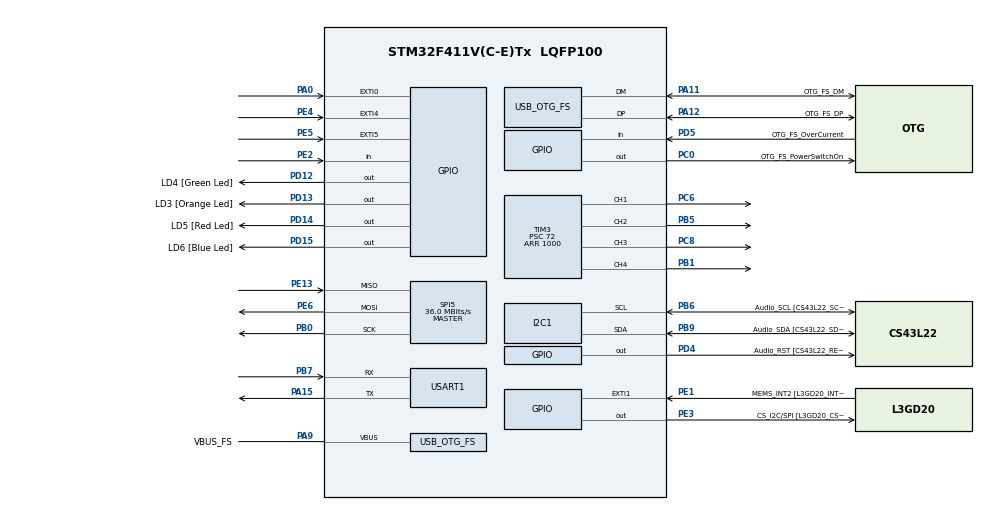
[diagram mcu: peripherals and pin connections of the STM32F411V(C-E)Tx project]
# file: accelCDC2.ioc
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I2C1.AddressingMode=I2C_ADDRESSINGMODE_7BIT
Mcu.Family=STM32F4
Mcu.Name=STM32F411V(C-E)Tx
Mcu.Package=LQFP100
NVIC.OTG_FS_IRQn=true\:0\:0\:false\:false\:true
NVIC.PriorityGroup=NVIC_PRIORITYGROUP_4
NVIC.TIM1_UP_TIM10_IRQn=true\:0\:0\:false\:false\:true
NVIC.TimeBase=TIM1_UP_TIM10_IRQn
NVIC.TimeBaseIP=TIM1
PA0-WKUP.GPIO_ModeDefaultEXTI=GPIO_MODE_EVT_RISING
PA0-WKUP.Signal=GPXTI0
PA10.GPIO_Label=OTG_FS_ID
PA10.Signal=USB_OTG_FS_ID
PA11.GPIO_Label=OTG_FS_DM
PA11.Mode=Device_Only
PA11.Signal=USB_OTG_FS_DM
PA12.GPIO_Label=OTG_FS_DP
PA12.Mode=Device_Only
PA12.Signal=USB_OTG_FS_DP
PA13.GPIO_Label=SWDIO
PA13.Signal=SYS_JTMS-SWDIO
PA14.GPIO_Label=SWCLK
PA14.Signal=SYS_JTCK-SWCLK
PA15.Mode=Asynchronous
PA15.Signal=USART1_TX
PA4.GPIO_Label=I2S3_WS [CS43L22_LRCK]
PA4.GPIO_Mode=GPIO_MODE_AF_PP
PA4.GPIO_PuPd=GPIO_NOPULL
PA4.GPIO_Speed=GPIO_SPEED_FREQ_LOW
PA4.Signal=I2S3_WS
PA5.GPIO_Label=SPI1_SCK [L3GD20_SC/SPC]
PA5.Signal=SPI1_SCK
PA6.GPIO_Label=SPI1_MISO [L3GD20_AS0/SDO]
PA6.Signal=SPI1_MISO
PA7.GPIO_Label=SPI1_MOSI [L3GD20_SDA/SDI/SDO]
PA7.Signal=SPI1_MOSI
PA9.GPIO_Label=VBUS_FS
PA9.Mode=Activate_VBUS
PA9.Signal=USB_OTG_FS_VBUS
PB0.Mode=Full_Duplex_Master
PB0.Signal=SPI5_SCK
PB1.Signal=S_TIM3_CH4
PB10.GPIO_Label=CLK_IN [MP45DT02_CLK]
PB10.Signal=I2S2_CK
PB12.Signal=I2S2_WS
PB3.GPIO_Label=SWO
PB3.Signal=SYS_JTDO-SWO
PB5.Signal=S_TIM3_CH2
PB6.GPIO_Label=Audio_SCL [CS43L22_SCL]
PB6.GPIO_Mode=GPIO_MODE_AF_OD
PB6.GPIO_PuPd=GPIO_NOPULL
PB6.GPIO_Speed=GPIO_SPEED_FREQ_LOW
PB6.Mode=I2C
PB6.Signal=I2C1_SCL
PB7.Mode=Asynchronous
PB7.Signal=USART1_RX
PB9.GPIO_Label=Audio_SDA [CS43L22_SDA]
PB9.GPIO_Mode=GPIO_MODE_AF_OD
PB9.GPIO_PuPd=GPIO_NOPULL
PB9.GPIO_Speed=GPIO_SPEED_FREQ_LOW
PB9.Mode=I2C
PB9.Signal=I2C1_SDA
PC0.GPIO_Label=OTG_FS_PowerSwitchOn
PC0.PinState=GPIO_PIN_SET
PC0.Signal=GPIO_Output
PC10.GPIO_Label=I2S3_SCK [CS43L22_SCLK]
PC10.GPIO_Mode=GPIO_MODE_AF_PP
PC10.GPIO_PuPd=GPIO_NOPULL
PC10.GPIO_Speed=GPIO_SPEED_FREQ_LOW
PC10.Signal=I2S3_CK
PC12.GPIO_Label=I2S3_SD [CS43L22_SDIN]
PC12.GPIO_Mode=GPIO_MODE_AF_PP
PC12.GPIO_PuPd=GPIO_NOPULL
PC12.GPIO_Speed=GPIO_SPEED_FREQ_LOW
PC12.Signal=I2S3_SD
PC14-OSC32_IN.GPIO_Label=PC14-OSC32_IN
PC14-OSC32_IN.Signal=RCC_OSC32_IN
PC15-OSC32_OUT.GPIO_Label=PC15-OSC32_OUT
PC15-OSC32_OUT.Signal=RCC_OSC32_OUT
PC3.GPIO_Label=PDM_OUT [MP45DT02_DOUT]
PC3.Signal=I2S2_SD
PC6.Signal=S_TIM3_CH1
PC7.GPIO_Label=I2S3_MCK [CS43L22_MCLK]
PC7.GPIO_Mode=GPIO_MODE_AF_PP
PC7.GPIO_PuPd=GPIO_NOPULL
PC7.GPIO_Speed=GPIO_SPEED_FREQ_LOW
PC7.Signal=I2S3_MCK
PC8.Signal=S_TIM3_CH3
PD12.GPIO_Label=LD4 [Green Led]
PD12.GPIO_PuPd=GPIO_NOPULL
PD12.GPIO_Speed=GPIO_SPEED_FREQ_LOW
PD12.Signal=GPIO_Output
PD13.GPIO_Label=LD3 [Orange Led]
PD13.GPIO_PuPd=GPIO_NOPULL
PD13.GPIO_Speed=GPIO_SPEED_FREQ_LOW
PD13.Signal=GPIO_Output
PD14.GPIO_Label=LD5 [Red Led]
PD14.GPIO_PuPd=GPIO_NOPULL
PD14.GPIO_Speed=GPIO_SPEED_FREQ_LOW
PD14.Signal=GPIO_Output
PD15.GPIO_Label=LD6 [Blue Led]
PD15.GPIO_PuPd=GPIO_NOPULL
PD15.GPIO_Speed=GPIO_SPEED_FREQ_LOW
PD15.Signal=GPIO_Output
PD4.GPIO_Label=Audio_RST [CS43L22_RESET]
PD4.Signal=GPIO_Output
PD5.GPIO_Label=OTG_FS_OverCurrent
PD5.Signal=GPIO_Input
PE1.GPIO_Label=MEMS_INT2 [L3GD20_INT2]
PE1.GPIO_ModeDefaultEXTI=GPIO_MODE_EVT_RISING
PE1.Signal=GPXTI1
PE13.Mode=Full_Duplex_Master
PE13.Signal=SPI5_MISO
PE2.Signal=GPIO_Input
PE3.GPIO_Label=CS_I2C/SPI [L3GD20_CS_I2C/SPI]
PE3.Signal=GPIO_Output
PE4.GPIO_ModeDefaultEXTI=GPIO_MODE_EVT_RISING
PE4.Signal=GPXTI4
PE5.GPIO_ModeDefaultEXTI=GPIO_MODE_EVT_RISING
PE5.Signal=GPXTI5
PE6.Mode=Full_Duplex_Master
PE6.Signal=SPI5_MOSI
PH0\ -\ OSC_IN.GPIO_Label=PH0-OSC_IN
PH0\ -\ OSC_IN.Mode=HSE-External-Oscillator
PH0\ -\ OSC_IN.Signal=RCC_OSC_IN
PH1\ -\ OSC_OUT.GPIO_Label=PH1-OSC_OUT
PH1\ -\ OSC_OUT.Mode=HSE-External-Oscillator
PH1\ -\ OSC_OUT.Signal=RCC_OSC_OUT
ProjectManager.HeapSize=0x200
ProjectManager.StackSize=0x400
ProjectManager.TargetToolchain=SW4STM32
RCC.48MHZClocksFreq_Value=48000000
RCC.AHBFreq_Value=72000000
RCC.APB1CLKDivider=RCC_HCLK_DIV2
RCC.APB1Freq_Value=36000000
RCC.APB1TimFreq_Value=72000000
RCC.APB2Freq_Value=72000000
RCC.APB2TimFreq_Value=72000000
RCC.CortexFreq_Value=72000000
RCC.HCLKFreq_Value=72000000
RCC.HSE_VALUE=8000000
RCC.HSI_VALUE=16000000
RCC.LSE_VALUE=32768
RCC.PLLI2SM=5
RCC.PLLI2SN=200
RCC.PLLM=4
RCC.PLLN=72
RCC.PLLQ=3
RCC.SYSCLKFreq_VALUE=72000000
RCC.SYSCLKSource=RCC_SYSCLKSOURCE_PLLCLK
RCC.VCOOutputFreq_Value=144000000
SH.S_TIM3_CH1.0=TIM3_CH1,PWM Generation1 CH1
SH.S_TIM3_CH2.0=TIM3_CH2,PWM Generation2 CH2
SH.S_TIM3_CH3.0=TIM3_CH3,PWM Generation3 CH3
SH.S_TIM3_CH4.0=TIM3_CH4,PWM Generation4 CH4
SPI5.CalculateBaudRate=36.0 MBits/s
SPI5.Direction=SPI_DIRECTION_2LINES
SPI5.Mode=SPI_MODE_MASTER
SPI5.VirtualType=VM_MASTER
TIM3.Channel-PWM\ Generation1\ CH1=TIM_CHANNEL_1
TIM3.Channel-PWM\ Generation2\ CH2=TIM_CHANNEL_2
TIM3.Channel-PWM\ Generation3\ CH3=TIM_CHANNEL_3
TIM3.Channel-PWM\ Generation4\ CH4=TIM_CHANNEL_4
TIM3.Period=1000
TIM3.Prescaler=72
USART1.VirtualMode=VM_ASYNC
USART1.WordLength=WORDLENGTH_8B
USB_DEVICE.CLASS_NAME_FS=CDC
USB_DEVICE.USBD_HandleTypeDef=hUsbDeviceFS
USB_DEVICE.VirtualMode=Cdc
USB_DEVICE.VirtualModeFS=Cdc_FS
USB_OTG_FS.VirtualMode=Device_Only
VP_SYS_VS_tim1.Mode=TIM1
VP_USB_DEVICE_VS_USB_DEVICE_CDC_FS.Mode=CDC_FS
board=STM32F411E-DISCO

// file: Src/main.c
#include "main.h"
#include "stm32f4xx_hal.h"
#include "usb_device.h"
#include "setup.hpp"

#include "usbd_cdc_if.h"
#include <string.h>

I2C_HandleTypeDef hi2c1;

SPI_HandleTypeDef hspi5;

TIM_HandleTypeDef htim3;

UART_HandleTypeDef huart1;

/* USER CODE BEGIN PV */
/* Private variables ---------------------------------------------------------*/
TIM_OC_InitTypeDef htimPwmPulse;

#define REG_X_AXIS_L 0x28
#define REG_X_AXIS_H 0x29
#define REG_Y_AXIS_L 0x2A
#define REG_Y_AXIS_H 0x2B
// control reg1 (20h) - ODR: 25Hz, X,Y,Z Axis enabled.
uint8_t ConfigReg1[2] = { 0x20, 0x37 }; /*0011 0000  0011 0111*/
uint8_t accelDataX[2];
uint8_t accelDataY[2];

/* USER CODE END PV */

static void MX_USART1_UART_Init(void);
static void MX_I2C1_Init(void);
static void MX_SPI5_Init(void);
static void MX_TIM3_Init(void);

void HAL_TIM_MspPostInit(TIM_HandleTypeDef *htim);

static void setupExternInterPins(void);

/* USER CODE BEGIN PFP */
/* Private function prototypes -----------------------------------------------*/
void pwmChannelOneStart(void);
void pwmChannelTwoStart(void);
void pwmChannelThreeStart(void);
void pwmChannelFourStart(void);

void pwmChannelOneStop(void);
void pwmChannelTwoStop(void);
void pwmChannelThreeStop(void);
void pwmChannelFourStop(void);

void pwmChannelOneSet(uint16_t set);
void pwmChannelTwoSet(uint16_t set);
void pwmChannelThreeSet(uint16_t set);
void pwmChannelFourSet(uint16_t set);
/* USER CODE END PFP */

/* USER CODE BEGIN 0 */
uint8_t buff[10];
uint8_t str1[2];
uint8_t retStrcmp;
uint32_t motor1Encoder;

/* USER CODE END 0 */

int main(void)
{
  HAL_Init();

  SystemClock_Config();

  htimPwmPulse.OCMode = TIM_OCMODE_PWM1;
  htimPwmPulse.Pulse = 500;
  htimPwmPulse.OCPolarity = TIM_OCPOLARITY_HIGH;
  htimPwmPulse.OCFastMode = TIM_OCFAST_DISABLE;

  MX_GPIO_Init();
  setupExternInterPins();
  MX_USART1_UART_Init();
  MX_USB_DEVICE_Init();
  MX_I2C1_Init();
  MX_SPI5_Init();
  MX_TIM3_Init();

  //while(HAL_I2C_Master_Transmit(&hi2c1, (uint16_t)0x32, (uint8_t*)&ConfigReg1[0], 2, 10000) != HAL_OK) { }
  HAL_Delay(1);

  while (1)
  {
	  uint8_t testDataToSend[13] = {'H', 'E', 'L','L','O',' ','W','O','R','L','D', '\r'};

	  //HAL_I2C_Mem_Read(&hi2c1, 0x32, REG_X_AXIS_L, I2C_MEMADD_SIZE_8BIT, &accelDataX[0], 1, 10000);
	  //HAL_I2C_Mem_Read(&hi2c1, 0x32, REG_X_AXIS_H, I2C_MEMADD_SIZE_8BIT, &accelDataX[1], 1, 10000);

	  //HAL_I2C_Mem_Read(&hi2c1, 0x32, REG_Y_AXIS_L, I2C_MEMADD_SIZE_8BIT, &accelDataY[0], 1, 10000);
	  //HAL_I2C_Mem_Read(&hi2c1, 0x32, REG_Y_AXIS_H, I2C_MEMADD_SIZE_8BIT, &accelDataY[1], 1, 10000);

	  HAL_GPIO_WritePin(GPIOD, GPIO_PIN_15, HAL_GPIO_ReadPin(GPIOD,GPIO_PIN_7));
	  HAL_GPIO_WritePin(GPIOD, GPIO_PIN_14, HAL_GPIO_ReadPin(GPIOD,GPIO_PIN_6));
	  HAL_GPIO_WritePin(GPIOD, GPIO_PIN_13, HAL_GPIO_ReadPin(GPIOD,GPIO_PIN_3));
	  HAL_GPIO_WritePin(GPIOD, GPIO_PIN_12, HAL_GPIO_ReadPin(GPIOD,GPIO_PIN_2));

	  //CDC_Transmit_FS(testDataToSend, 12);

	  //uint8_t buff[6];
	  CDC_Receive_FS_User(buff, 10); //Receives from usb port every update

	  strncpy (str1, buff, 3 );

	  retStrcmp = strcmp(str1,"M1O");
	  if(retStrcmp==0)
	  {
		  pwmChannelOneSet(500);
		  pwmChannelOneStart();
	  }

	  retStrcmp = strcmp(str1,"M1F");
	  if(retStrcmp==0)
	  {
		  pwmChannelOneStop();
	  }

	  retStrcmp = strcmp(str1,"M2O");
	  if(retStrcmp==0)
	  {
		  pwmChannelTwoSet(500);
		  pwmChannelTwoStart();
	  }

	  retStrcmp = strcmp(str1,"M2F");
	  if(retStrcmp==0)
	  {
		  pwmChannelTwoStop();
	  }

	  retStrcmp = strcmp(str1,"M3O");
	  if(retStrcmp==0)
	  {
		  pwmChannelThreeSet(500);
		  pwmChannelThreeStart();
	  }

	  retStrcmp = strcmp(str1,"M3F");
	  if(retStrcmp==0)
	  {
		  pwmChannelThreeStop();
	  }

	  retStrcmp = strcmp(str1,"M4O");
	  if(retStrcmp==0)
	  {
		  pwmChannelFourSet(500);
		  pwmChannelFourStart();
	  }

	  retStrcmp = strcmp(str1,"M4F");
	  if(retStrcmp==0)
	  {
		  pwmChannelFourStop();
	  }
  }
}

static void setupExternInterPins(void)
{
	/*Setup PD7 & 6 as interupt pin*/
	  GPIO_InitTypeDef   GPIO_InitStructure;

	  __HAL_RCC_GPIOD_CLK_ENABLE();

	  /* Configure PA0 pin as input floating */
	  GPIO_InitStructure.Mode = GPIO_MODE_INPUT;
	  GPIO_InitStructure.Pull = GPIO_NOPULL;
	  GPIO_InitStructure.Pin = GPIO_PIN_7|GPIO_PIN_6|GPIO_PIN_3|GPIO_PIN_2;
	  HAL_GPIO_Init(GPIOD, &GPIO_InitStructure);

	  //GPIO_InitStructure.Pin = GPIO_PIN_6;
	  //HAL_GPIO_Init(GPIOD, &GPIO_InitStructure);

	  /* Enable and set EXTI Line0 Interrupt to the lowest priority */
	  //HAL_NVIC_SetPriority(EXTI1_IRQn, 2, 0);
	  //HAL_NVIC_EnableIRQ(EXTI1_IRQn);
}

/* I2C1 init function */
static void MX_I2C1_Init(void)
{

  hi2c1.Instance = I2C1;
  hi2c1.Init.ClockSpeed = 100000;
  hi2c1.Init.DutyCycle = I2C_DUTYCYCLE_2;
  hi2c1.Init.OwnAddress1 = 0;
  hi2c1.Init.AddressingMode = I2C_ADDRESSINGMODE_7BIT;
  hi2c1.Init.DualAddressMode = I2C_DUALADDRESS_DISABLE;
  hi2c1.Init.OwnAddress2 = 0;
  hi2c1.Init.GeneralCallMode = I2C_GENERALCALL_DISABLE;
  hi2c1.Init.NoStretchMode = I2C_NOSTRETCH_DISABLE;
  if (HAL_I2C_Init(&hi2c1) != HAL_OK)
  {
    _Error_Handler(__FILE__, __LINE__);
  }

}

/* SPI5 init function */
static void MX_SPI5_Init(void)
{

  hspi5.Instance = SPI5;
  hspi5.Init.Mode = SPI_MODE_MASTER;
  hspi5.Init.Direction = SPI_DIRECTION_2LINES;
  hspi5.Init.DataSize = SPI_DATASIZE_8BIT;
  hspi5.Init.CLKPolarity = SPI_POLARITY_LOW;
  hspi5.Init.CLKPhase = SPI_PHASE_1EDGE;
  hspi5.Init.NSS = SPI_NSS_SOFT;
  hspi5.Init.BaudRatePrescaler = SPI_BAUDRATEPRESCALER_2;
  hspi5.Init.FirstBit = SPI_FIRSTBIT_MSB;
  hspi5.Init.TIMode = SPI_TIMODE_DISABLE;
  hspi5.Init.CRCCalculation = SPI_CRCCALCULATION_DISABLE;
  hspi5.Init.CRCPolynomial = 10;
  if (HAL_SPI_Init(&hspi5) != HAL_OK)
  {
    _Error_Handler(__FILE__, __LINE__);
  }

}

/* TIM3 init function */
static void MX_TIM3_Init(void)
{

  TIM_MasterConfigTypeDef sMasterConfig;
  TIM_OC_InitTypeDef sConfigOC;

  htim3.Instance = TIM3;
  htim3.Init.Prescaler = 72;
  htim3.Init.CounterMode = TIM_COUNTERMODE_UP;
  htim3.Init.Period = 1000;
  htim3.Init.ClockDivision = TIM_CLOCKDIVISION_DIV1;
  if (HAL_TIM_PWM_Init(&htim3) != HAL_OK)
  {
    _Error_Handler(__FILE__, __LINE__);
  }

  sMasterConfig.MasterOutputTrigger = TIM_TRGO_RESET;
  sMasterConfig.MasterSlaveMode = TIM_MASTERSLAVEMODE_DISABLE;
  if (HAL_TIMEx_MasterConfigSynchronization(&htim3, &sMasterConfig) != HAL_OK)
  {
    _Error_Handler(__FILE__, __LINE__);
  }

  sConfigOC.OCMode = TIM_OCMODE_PWM1;
  sConfigOC.Pulse = 0;
  sConfigOC.OCPolarity = TIM_OCPOLARITY_HIGH;
  sConfigOC.OCFastMode = TIM_OCFAST_DISABLE;
  if (HAL_TIM_PWM_ConfigChannel(&htim3, &sConfigOC, TIM_CHANNEL_1) != HAL_OK)
  {
    _Error_Handler(__FILE__, __LINE__);
  }

  if (HAL_TIM_PWM_ConfigChannel(&htim3, &sConfigOC, TIM_CHANNEL_2) != HAL_OK)
  {
    _Error_Handler(__FILE__, __LINE__);
  }

  if (HAL_TIM_PWM_ConfigChannel(&htim3, &sConfigOC, TIM_CHANNEL_3) != HAL_OK)
  {
    _Error_Handler(__FILE__, __LINE__);
  }

  if (HAL_TIM_PWM_ConfigChannel(&htim3, &sConfigOC, TIM_CHANNEL_4) != HAL_OK)
  {
    _Error_Handler(__FILE__, __LINE__);
  }

  HAL_TIM_MspPostInit(&htim3);

}

/* USART1 init function */
static void MX_USART1_UART_Init(void)
{

  huart1.Instance = USART1;
  huart1.Init.BaudRate = 115200;
  huart1.Init.WordLength = UART_WORDLENGTH_8B;
  huart1.Init.StopBits = UART_STOPBITS_1;
  huart1.Init.Parity = UART_PARITY_NONE;
  huart1.Init.Mode = UART_MODE_TX_RX;
  huart1.Init.HwFlowCtl = UART_HWCONTROL_NONE;
  huart1.Init.OverSampling = UART_OVERSAMPLING_16;
  if (HAL_UART_Init(&huart1) != HAL_OK)
  {
    _Error_Handler(__FILE__, __LINE__);
  }

}

/** Configure pins as
        * Analog
        * Input
        * Output
        * EVENT_OUT
        * EXTI
     PC3   ------> I2S2_SD
     PA4   ------> I2S3_WS
     PA5   ------> SPI1_SCK
     PA6   ------> SPI1_MISO
     PA7   ------> SPI1_MOSI
     PB10   ------> I2S2_CK
     PB12   ------> I2S2_WS
     PC7   ------> I2S3_MCK
     PC10   ------> I2S3_CK
     PC12   ------> I2S3_SD
*/

/* USER CODE BEGIN 4 */
void pwmChannelOneStart(void)
{
	HAL_TIM_PWM_Start(&htim3, TIM_CHANNEL_1);
}
void pwmChannelTwoStart(void)
{
	HAL_TIM_PWM_Start(&htim3, TIM_CHANNEL_2);
}
void pwmChannelThreeStart(void)
{
	HAL_TIM_PWM_Start(&htim3, TIM_CHANNEL_3);
}
void pwmChannelFourStart(void)
{
	HAL_TIM_PWM_Start(&htim3, TIM_CHANNEL_4);
}

void pwmChannelOneStop(void)
{
	HAL_TIM_PWM_Stop(&htim3, TIM_CHANNEL_1);
}
void pwmChannelTwoStop(void)
{
	HAL_TIM_PWM_Stop(&htim3, TIM_CHANNEL_2);
}
void pwmChannelThreeStop(void)
{
	HAL_TIM_PWM_Stop(&htim3, TIM_CHANNEL_3);
}
void pwmChannelFourStop(void)
{
	HAL_TIM_PWM_Stop(&htim3, TIM_CHANNEL_4);
}

void pwmChannelOneSet(uint16_t set)
{
	htimPwmPulse.Pulse = set;
	HAL_TIM_PWM_ConfigChannel(&htim3, &htimPwmPulse, TIM_CHANNEL_1);
}
void pwmChannelTwoSet(uint16_t set)
{
	htimPwmPulse.Pulse = set;
	HAL_TIM_PWM_ConfigChannel(&htim3, &htimPwmPulse, TIM_CHANNEL_2);
}
void pwmChannelThreeSet(uint16_t set)
{
	htimPwmPulse.Pulse = set;
	HAL_TIM_PWM_ConfigChannel(&htim3, &htimPwmPulse, TIM_CHANNEL_3);
}
void pwmChannelFourSet(uint16_t set)
{
	htimPwmPulse.Pulse = set;
	HAL_TIM_PWM_ConfigChannel(&htim3, &htimPwmPulse, TIM_CHANNEL_4);
}

void HAL_TIM_PeriodElapsedCallback(TIM_HandleTypeDef *htim)
{
  if (htim->Instance == TIM1) {
    HAL_IncTick();
  }
}

void _Error_Handler(char * file, int line)
{
  while(1) {}
}
